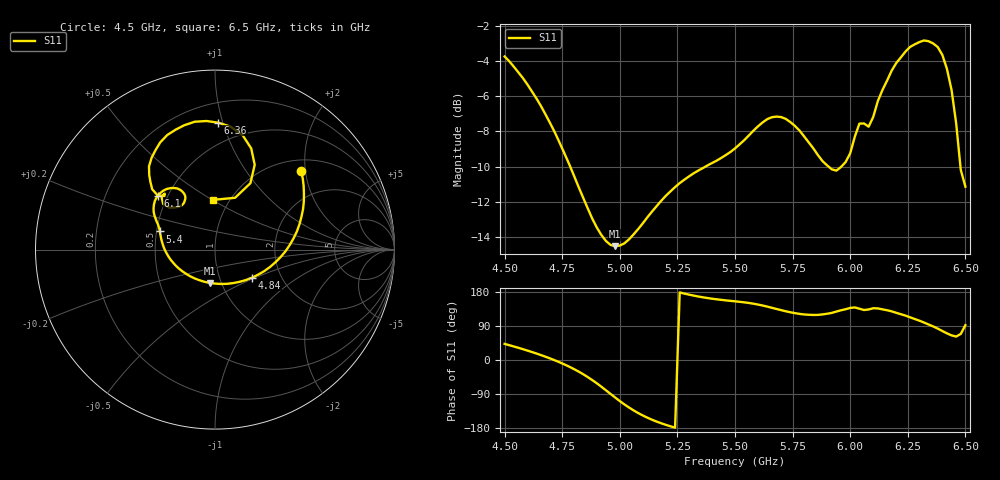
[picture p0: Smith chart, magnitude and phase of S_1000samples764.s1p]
! TOUCHSTONE file generated by CST MICROWAVE STUDIO
! Date and time: Sat Oct 29 07:27:33 2022
! Project name: L.cst
! Parameters = {Di=1.27; Epsilon_r=1.56; InnerDiameter=1.27; Length=2; Lf=10; Lg=60; OuterConductorThickness=0.2921; OuterDiameter=3.6; Wf=3; Wp=41.2; de=1.5; df=6.8; g=0.8; gx=2.56621; gy=1.0514; h=2.34; hf=1.524; px=13.7217; py=10.3152; w=9.7; wx=11.1555; wy=9.26377}
! Header version: 2018
! Port assignment regex: !\s*Touchstone port\s*([0-9]+)\s*=\s*(CST MWS port|CST DS port)\s*([0-9]+|Zmin|Zmax)\s*\(\"(.*)\"\)(\s*mode\s*([0-9]+))?.*
! Touchstone port assignment:
! Touchstone port 1 = CST MWS port 1 ("")
# GHz S DB R 50
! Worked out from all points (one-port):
!   101 points, 4.5 GHz to 6.5 GHz, reference 50 ohm
!   lowest |S11| = -14.5 dB at 4.98 GHz (marker M1), VSWR 1.46, Z = 44.1 - j17 ohm
!   |S11| at or under -10 dB: 4.785 GHz to 5.371 GHz (586.7 MHz wide, 11.6 % of centre); 5.906 GHz to 5.962 GHz (55.35 MHz wide, 0.933 % of centre); 6.478587 GHz to end of sweep
!   S11 on the Smith chart (normalised r, x): 4.5 GHz: 1.25, +1.89; 4.84 GHz: 1.43, -0.48; 5.4 GHz: 0.52, +0.12; 6.1 GHz: 0.44, +0.33; 6.36 GHz: 0.34, +0.97; 6.5 GHz: 0.84, +0.51
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4.5  -3.75 42.5
4.62  -5.76 20.8
4.76  -9.26 -11.7
4.84  -11.73 -37.1
4.92  -13.88 -70.5
4.98  -14.52 -99.0
5  -14.48 -108.4
5.12  -12.87 -152.3
5.26  -10.94 178.3
5.4  -9.80 161.7
5.5  -8.97 154.9
5.64  -7.30 140.9
5.76  -7.69 123.7
5.88  -9.69 120.3
5.94  -10.23 127.8
6  -9.24 137.4
6.04  -7.56 135.4
6.08  -7.73 133.3
6.1  -7.18 136.6
6.18  -4.55 128.4
6.26  -3.20 112.6
6.32  -2.84 99.0
6.36  -3.01 88.6
6.4  -3.66 76.5
6.44  -5.65 64.9
6.46  -7.55 61.9
6.48  -10.19 68.8
6.5  -11.14 91.9
